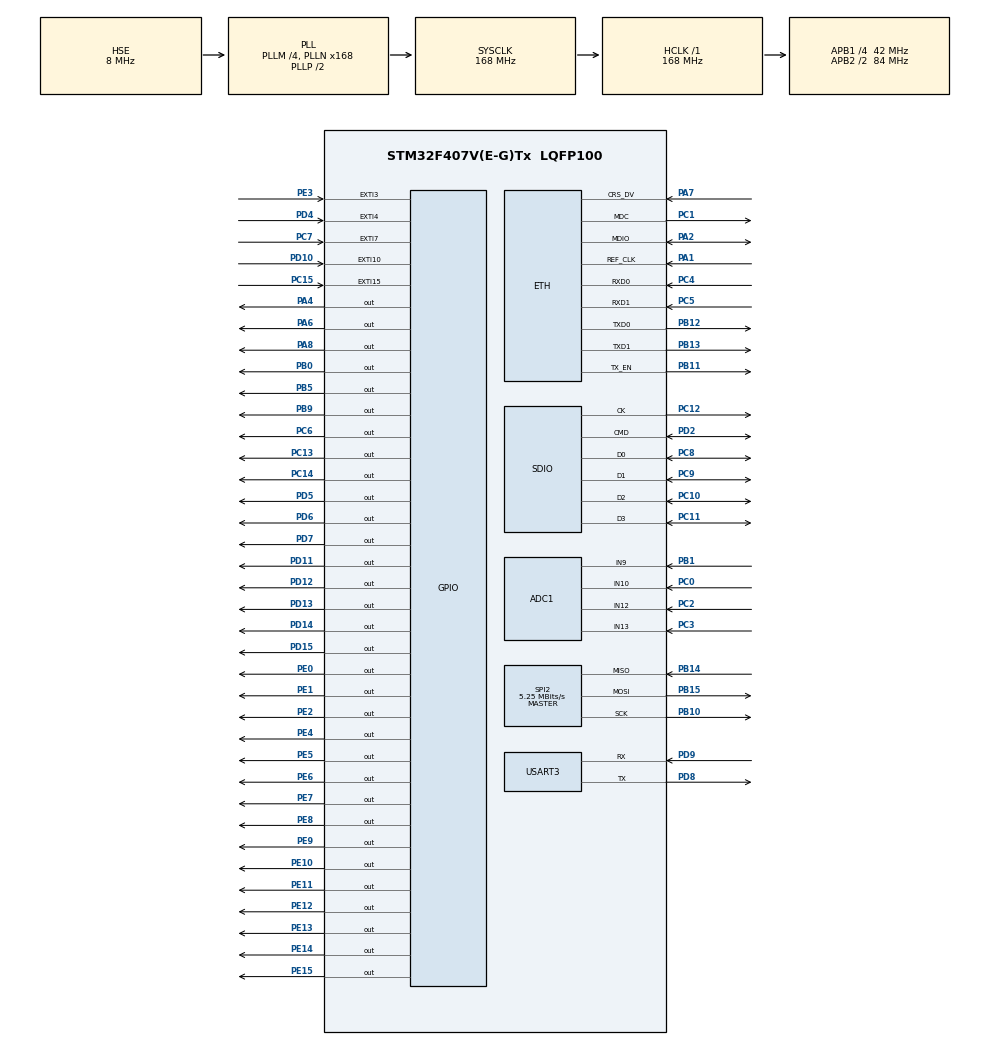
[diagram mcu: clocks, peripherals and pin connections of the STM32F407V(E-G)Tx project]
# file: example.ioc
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ADC1.Channel-0\#ChannelRegularConversion=ADC_CHANNEL_10
ADC1.Channel-1\#ChannelRegularConversion=ADC_CHANNEL_12
ADC1.Channel-2\#ChannelRegularConversion=ADC_CHANNEL_13
ADC1.Channel-3\#ChannelRegularConversion=ADC_CHANNEL_9
ADC1.ContinuousConvMode=ENABLE
ADC1.DMAContinuousRequests=ENABLE
ADC1.DiscontinuousConvMode=DISABLE
ADC1.EOCSelection=ADC_EOC_SEQ_CONV
ADC1.NbrOfConversion=4
ADC1.NbrOfConversionFlag=1
ADC1.Rank-0\#ChannelRegularConversion=1
ADC1.Rank-1\#ChannelRegularConversion=2
ADC1.Rank-2\#ChannelRegularConversion=3
ADC1.Rank-3\#ChannelRegularConversion=4
ADC1.SamplingTime-0\#ChannelRegularConversion=ADC_SAMPLETIME_84CYCLES
ADC1.SamplingTime-1\#ChannelRegularConversion=ADC_SAMPLETIME_84CYCLES
ADC1.SamplingTime-2\#ChannelRegularConversion=ADC_SAMPLETIME_84CYCLES
ADC1.SamplingTime-3\#ChannelRegularConversion=ADC_SAMPLETIME_84CYCLES
ADC1.ScanConvMode=ENABLE
ADC1.master=1
Dma.ADC1.2.Direction=DMA_PERIPH_TO_MEMORY
Dma.ADC1.2.FIFOMode=DMA_FIFOMODE_DISABLE
Dma.ADC1.2.Instance=DMA2_Stream0
Dma.ADC1.2.MemDataAlignment=DMA_MDATAALIGN_HALFWORD
Dma.ADC1.2.MemInc=DMA_MINC_ENABLE
Dma.ADC1.2.Mode=DMA_CIRCULAR
Dma.ADC1.2.PeriphDataAlignment=DMA_PDATAALIGN_HALFWORD
Dma.ADC1.2.PeriphInc=DMA_PINC_DISABLE
Dma.ADC1.2.Priority=DMA_PRIORITY_LOW
Dma.Request0=SDIO_TX
Dma.Request1=SDIO_RX
Dma.Request2=ADC1
Dma.SDIO_RX.1.Direction=DMA_PERIPH_TO_MEMORY
Dma.SDIO_RX.1.FIFOMode=DMA_FIFOMODE_ENABLE
Dma.SDIO_RX.1.FIFOThreshold=DMA_FIFO_THRESHOLD_FULL
Dma.SDIO_RX.1.Instance=DMA2_Stream6
Dma.SDIO_RX.1.MemBurst=DMA_MBURST_INC4
Dma.SDIO_RX.1.MemDataAlignment=DMA_MDATAALIGN_WORD
Dma.SDIO_RX.1.MemInc=DMA_MINC_ENABLE
Dma.SDIO_RX.1.Mode=DMA_PFCTRL
Dma.SDIO_RX.1.PeriphBurst=DMA_PBURST_INC4
Dma.SDIO_RX.1.PeriphDataAlignment=DMA_PDATAALIGN_WORD
Dma.SDIO_RX.1.PeriphInc=DMA_PINC_DISABLE
Dma.SDIO_RX.1.Priority=DMA_PRIORITY_LOW
Dma.SDIO_TX.0.Direction=DMA_MEMORY_TO_PERIPH
Dma.SDIO_TX.0.FIFOMode=DMA_FIFOMODE_ENABLE
Dma.SDIO_TX.0.FIFOThreshold=DMA_FIFO_THRESHOLD_FULL
Dma.SDIO_TX.0.Instance=DMA2_Stream3
Dma.SDIO_TX.0.MemBurst=DMA_MBURST_INC4
Dma.SDIO_TX.0.MemDataAlignment=DMA_MDATAALIGN_WORD
Dma.SDIO_TX.0.MemInc=DMA_MINC_ENABLE
Dma.SDIO_TX.0.Mode=DMA_PFCTRL
Dma.SDIO_TX.0.PeriphBurst=DMA_PBURST_INC4
Dma.SDIO_TX.0.PeriphDataAlignment=DMA_PDATAALIGN_WORD
Dma.SDIO_TX.0.PeriphInc=DMA_PINC_DISABLE
Dma.SDIO_TX.0.Priority=DMA_PRIORITY_LOW
ETH.MediaInterface=HAL_ETH_RMII_MODE
FATFS._USE_LFN=2
FREERTOS.Events01=eventFlags,Dynamic,NULL
FREERTOS.Mutexes01=timeMutex,Dynamic,NULL,Depleted;lcdMutex,Dynamic,NULL,Depleted;mp3BufferMutex,Dynamic,NULL,Depleted;playStateMutex,Dynamic,NULL,Depleted
FREERTOS.Queues01=volQueue,5,uint8_t,0,Dynamic,NULL,NULL;uartQueue,16,128,1,Dynamic,NULL,NULL
FREERTOS.Tasks01=NTPTask,24,4096,StartNTP,Default,NULL,Dynamic,NULL,NULL;TimeTask,32,1024,StartTime,Default,NULL,Dynamic,NULL,NULL;LEDTask,16,512,StartLED,Default,NULL,Dynamic,NULL,NULL;LCDTask,24,512,StartLCD,Default,NULL,Dynamic,NULL,NULL;UartTask,16,1024,StartUart,Default,NULL,Dynamic,NULL,NULL;VS1003Task,24,512,StartVS1003,Default,NULL,Dynamic,NULL,NULL;FATFSTask,16,512,StartFATFS,Default,NULL,Dynamic,NULL,NULL;ADC2DMATask,8,512,StartADC2DMA,Default,NULL,Dynamic,NULL,NULL;ButtonTask,24,512,StartButton,Default,NULL,Dynamic,NULL,NULL
FREERTOS.configTOTAL_HEAP_SIZE=65536
FREERTOS.configUSE_NEWLIB_REENTRANT=1
LWIP.BSP.number=1
LWIP.GATEWAY_ADDRESS=172.030.001.254
LWIP.IP_ADDRESS=172.030.001.100
LWIP.LWIP_DHCP=0
LWIP.NETMASK_ADDRESS=255.255.255.000
LWIP.Version=v2.1.2_Cube
LWIP0.BSP.STBoard=false
LWIP0.BSP.api=BSP_COMPONENT_DRIVER
LWIP0.BSP.component=DP83848
LWIP0.BSP.instance=DP83848
LWIP0.BSP.name=Driver_PHY
LWIP0.BSP.semaphore=S_DP83848
LWIP0.BSP.solution=DP83848
Mcu.Family=STM32F4
Mcu.Name=STM32F407V(E-G)Tx
Mcu.Package=LQFP100
NVIC.DMA2_Stream0_IRQn=true\:5\:0\:false\:false\:true\:true\:false\:true\:true
NVIC.DMA2_Stream3_IRQn=true\:5\:0\:false\:false\:true\:true\:false\:true\:true
NVIC.DMA2_Stream6_IRQn=true\:5\:0\:false\:false\:true\:true\:false\:true\:true
NVIC.ETH_IRQn=true\:5\:0\:false\:true\:true\:6\:true\:false\:true\:true
NVIC.EXTI15_10_IRQn=true\:5\:0\:false\:true\:true\:5\:true\:true\:true\:true
NVIC.EXTI3_IRQn=true\:5\:0\:false\:true\:true\:3\:true\:true\:true\:true
NVIC.EXTI4_IRQn=true\:5\:0\:false\:true\:true\:4\:true\:true\:true\:true
NVIC.EXTI9_5_IRQn=true\:5\:0\:false\:true\:true\:2\:true\:true\:true\:true
NVIC.PriorityGroup=NVIC_PRIORITYGROUP_4
NVIC.SDIO_IRQn=true\:5\:0\:false\:false\:true\:true\:true\:true\:true
NVIC.TIM3_IRQn=true\:15\:0\:false\:false\:true\:false\:false\:true\:true
NVIC.TIM7_IRQn=true\:5\:0\:false\:true\:true\:1\:true\:true\:true\:true
NVIC.TimeBase=TIM3_IRQn
NVIC.TimeBaseIP=TIM3
NVIC.USART3_IRQn=true\:5\:0\:false\:true\:true\:7\:true\:true\:true\:true
PA1.Mode=RMII
PA1.Signal=ETH_REF_CLK
PA2.Mode=RMII
PA2.Signal=ETH_MDIO
PA4.Signal=GPIO_Output
PA6.Signal=GPIO_Output
PA7.Mode=RMII
PA7.Signal=ETH_CRS_DV
PA8.Signal=GPIO_Output
PB0.Signal=GPIO_Output
PB1.Signal=ADCx_IN9
PB10.Mode=Full_Duplex_Master
PB10.Signal=SPI2_SCK
PB11.Mode=RMII
PB11.Signal=ETH_TX_EN
PB12.Mode=RMII
PB12.Signal=ETH_TXD0
PB13.Mode=RMII
PB13.Signal=ETH_TXD1
PB14.Mode=Full_Duplex_Master
PB14.Signal=SPI2_MISO
PB15.Mode=Full_Duplex_Master
PB15.Signal=SPI2_MOSI
PB5.Signal=GPIO_Output
PB9.Signal=GPIO_Output
PC0.Signal=ADCx_IN10
PC1.Mode=RMII
PC1.Signal=ETH_MDC
PC10.Mode=SD_4_bits_Wide_bus
PC10.Signal=SDIO_D2
PC11.Mode=SD_4_bits_Wide_bus
PC11.Signal=SDIO_D3
PC12.Mode=SD_4_bits_Wide_bus
PC12.Signal=SDIO_CK
PC13-ANTI_TAMP.Signal=GPIO_Output
PC14-OSC32_IN.Signal=GPIO_Output
PC15-OSC32_OUT.GPIO_ModeDefaultEXTI=GPIO_MODE_IT_RISING_FALLING
PC15-OSC32_OUT.Signal=GPXTI15
PC2.Signal=ADCx_IN12
PC3.Signal=ADCx_IN13
PC4.Mode=RMII
PC4.Signal=ETH_RXD0
PC5.Mode=RMII
PC5.Signal=ETH_RXD1
PC6.Signal=GPIO_Output
PC7.Signal=GPXTI7
PC8.Mode=SD_4_bits_Wide_bus
PC8.Signal=SDIO_D0
PC9.Mode=SD_4_bits_Wide_bus
PC9.Signal=SDIO_D1
PD10.GPIO_ModeDefaultEXTI=GPIO_MODE_IT_RISING_FALLING
PD10.Signal=GPXTI10
PD11.Signal=GPIO_Output
PD12.Signal=GPIO_Output
PD13.Signal=GPIO_Output
PD14.Signal=GPIO_Output
PD15.Signal=GPIO_Output
PD2.Mode=SD_4_bits_Wide_bus
PD2.Signal=SDIO_CMD
PD4.GPIO_ModeDefaultEXTI=GPIO_MODE_IT_RISING_FALLING
PD4.Signal=GPXTI4
PD5.Signal=GPIO_Output
PD6.Signal=GPIO_Output
PD7.Signal=GPIO_Output
PD8.Mode=Asynchronous
PD8.Signal=USART3_TX
PD9.Mode=Asynchronous
PD9.Signal=USART3_RX
PE0.Signal=GPIO_Output
PE1.Signal=GPIO_Output
PE10.Signal=GPIO_Output
PE11.Signal=GPIO_Output
PE12.Signal=GPIO_Output
PE13.Signal=GPIO_Output
PE14.Signal=GPIO_Output
PE15.Signal=GPIO_Output
PE2.Signal=GPIO_Output
PE3.GPIO_ModeDefaultEXTI=GPIO_MODE_IT_RISING_FALLING
PE3.Signal=GPXTI3
PE4.Signal=GPIO_Output
PE5.Signal=GPIO_Output
PE6.Signal=GPIO_Output
PE7.Signal=GPIO_Output
PE8.Signal=GPIO_Output
PE9.Signal=GPIO_Output
PH0-OSC_IN.Mode=HSE-External-Oscillator
PH0-OSC_IN.Signal=RCC_OSC_IN
PH1-OSC_OUT.Mode=HSE-External-Oscillator
PH1-OSC_OUT.Signal=RCC_OSC_OUT
ProjectManager.HeapSize=0x200
ProjectManager.StackSize=0x400
ProjectManager.TargetToolchain=STM32CubeIDE
RCC.48MHZClocksFreq_Value=48000000
RCC.AHBFreq_Value=168000000
RCC.APB1CLKDivider=RCC_HCLK_DIV4
RCC.APB1Freq_Value=42000000
RCC.APB1TimFreq_Value=84000000
RCC.APB2CLKDivider=RCC_HCLK_DIV2
RCC.APB2Freq_Value=84000000
RCC.APB2TimFreq_Value=168000000
RCC.CortexFreq_Value=168000000
RCC.HCLKFreq_Value=168000000
RCC.HSE_VALUE=8000000
RCC.HSI_VALUE=16000000
RCC.LSE_VALUE=32768
RCC.PLLM=4
RCC.PLLN=168
RCC.PLLQ=7
RCC.PLLSourceVirtual=RCC_PLLSOURCE_HSE
RCC.SYSCLKFreq_VALUE=168000000
RCC.SYSCLKSource=RCC_SYSCLKSOURCE_PLLCLK
RCC.VCOOutputFreq_Value=336000000
SH.ADCx_IN10.0=ADC1_IN10,IN10
SH.ADCx_IN12.0=ADC1_IN12,IN12
SH.ADCx_IN13.0=ADC1_IN13,IN13
SH.ADCx_IN9.0=ADC1_IN9,IN9
SPI2.BaudRatePrescaler=SPI_BAUDRATEPRESCALER_8
SPI2.CLKPhase=SPI_PHASE_2EDGE
SPI2.CLKPolarity=SPI_POLARITY_HIGH
SPI2.CalculateBaudRate=5.25 MBits/s
SPI2.Direction=SPI_DIRECTION_2LINES
SPI2.Mode=SPI_MODE_MASTER
SPI2.VirtualType=VM_MASTER
TIM7.Period=8399
TIM7.Prescaler=9999
USART3.VirtualMode=VM_ASYNC
VP_FATFS_VS_SDIO.Mode=SDIO
VP_FREERTOS_VS_CMSIS_V2.Mode=CMSIS_V2
VP_LWIP_VS_Enabled.Mode=Enabled
VP_SYS_VS_tim3.Mode=TIM3
VP_TIM7_VS_ClockSourceINT.Mode=Enable_Timer
board=custom

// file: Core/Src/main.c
/* USER CODE BEGIN Header */
/**
 ******************************************************************************
 * @file           : main.c
 * @brief          : Main program body
 ******************************************************************************
 * @attention
 *
 * Copyright (c) 2025 STMicroelectronics.
 * All rights reserved.
 *
 * This software is licensed under terms that can be found in the LICENSE file
 * in the root directory of this software component.
 * If no LICENSE file comes with this software, it is provided AS-IS.
 *
 ******************************************************************************
 */
/* USER CODE END Header */
#include "main.h"
#include "cmsis_os.h"
#include "adc.h"
#include "dma.h"
#include "fatfs.h"
#include "lwip.h"
#include "sdio.h"
#include "spi.h"
#include "tim.h"
#include "usart.h"
#include "gpio.h"

/* USER CODE BEGIN Includes */
#include "common.h"
/* USER CODE END Includes */

/* USER CODE BEGIN PTD */
int _write(int file, char *p, int len) {
	HAL_UART_Transmit(&huart3, (uint8_t*) p, len, 10);
	return len;
}
extern DMA_HandleTypeDef hdma_adc1;  // hdma_adc1 핸들러 extern 선언
/* USER CODE END PTD */

/* USER CODE BEGIN PV */
uint16_t adcval[4] = { 0 };
uint8_t rx3_data;
/* USER CODE END PV */

void SystemClock_Config(void);
void MX_FREERTOS_Init(void);
static void MX_NVIC_Init(void);

int main(void)
{

  /* MCU Configuration--------------------------------------------------------*/

  /* Reset of all peripherals, Initializes the Flash interface and the Systick. */
  HAL_Init();

  /* Configure the system clock */
  SystemClock_Config();

  /* Initialize all configured peripherals */
  MX_GPIO_Init();
  MX_DMA_Init();
  MX_TIM7_Init();
  MX_USART3_UART_Init();
  MX_SPI2_Init();
  MX_SDIO_SD_Init();
  MX_FATFS_Init();
  MX_ADC1_Init();

  /* Initialize interrupts */
  MX_NVIC_Init();
  /* USER CODE BEGIN 2 */
	CLCD_GPIO_Init();
	CLCD_Init();
	HAL_ADC_Start_DMA(&hadc1, &adcval[0], 4);
	HAL_UART_Receive_IT(&huart3, &rx3_data, 1);
	printf("Hello\n");

  /* USER CODE END 2 */

  /* Init scheduler */
  osKernelInitialize();

  /* Call init function for freertos objects (in cmsis_os2.c) */
  MX_FREERTOS_Init();

  /* Start scheduler */
  osKernelStart();

  /* We should never get here as control is now taken by the scheduler */

  /* Infinite loop */
	while (1) {

	}
}

void SystemClock_Config(void)
{
  RCC_OscInitTypeDef RCC_OscInitStruct = {0};
  RCC_ClkInitTypeDef RCC_ClkInitStruct = {0};

  /** Configure the main internal regulator output voltage
  */
  __HAL_RCC_PWR_CLK_ENABLE();
  __HAL_PWR_VOLTAGESCALING_CONFIG(PWR_REGULATOR_VOLTAGE_SCALE1);

  /** Initializes the RCC Oscillators according to the specified parameters
  * in the RCC_OscInitTypeDef structure.
  */
  RCC_OscInitStruct.OscillatorType = RCC_OSCILLATORTYPE_HSE;
  RCC_OscInitStruct.HSEState = RCC_HSE_ON;
  RCC_OscInitStruct.PLL.PLLState = RCC_PLL_ON;
  RCC_OscInitStruct.PLL.PLLSource = RCC_PLLSOURCE_HSE;
  RCC_OscInitStruct.PLL.PLLM = 4;
  RCC_OscInitStruct.PLL.PLLN = 168;
  RCC_OscInitStruct.PLL.PLLP = RCC_PLLP_DIV2;
  RCC_OscInitStruct.PLL.PLLQ = 7;
  if (HAL_RCC_OscConfig(&RCC_OscInitStruct) != HAL_OK)
  {
    Error_Handler();
  }

  /** Initializes the CPU, AHB and APB buses clocks
  */
  RCC_ClkInitStruct.ClockType = RCC_CLOCKTYPE_HCLK|RCC_CLOCKTYPE_SYSCLK
                              |RCC_CLOCKTYPE_PCLK1|RCC_CLOCKTYPE_PCLK2;
  RCC_ClkInitStruct.SYSCLKSource = RCC_SYSCLKSOURCE_PLLCLK;
  RCC_ClkInitStruct.AHBCLKDivider = RCC_SYSCLK_DIV1;
  RCC_ClkInitStruct.APB1CLKDivider = RCC_HCLK_DIV4;
  RCC_ClkInitStruct.APB2CLKDivider = RCC_HCLK_DIV2;

  if (HAL_RCC_ClockConfig(&RCC_ClkInitStruct, FLASH_LATENCY_5) != HAL_OK)
  {
    Error_Handler();
  }
}

/**
  * @brief NVIC Configuration.
  * @retval None
  */
static void MX_NVIC_Init(void)
{
  /* TIM7_IRQn interrupt configuration */
  HAL_NVIC_SetPriority(TIM7_IRQn, 5, 0);
  HAL_NVIC_EnableIRQ(TIM7_IRQn);
  /* EXTI9_5_IRQn interrupt configuration */
  HAL_NVIC_SetPriority(EXTI9_5_IRQn, 5, 0);
  HAL_NVIC_EnableIRQ(EXTI9_5_IRQn);
  /* EXTI3_IRQn interrupt configuration */
  HAL_NVIC_SetPriority(EXTI3_IRQn, 5, 0);
  HAL_NVIC_EnableIRQ(EXTI3_IRQn);
  /* EXTI4_IRQn interrupt configuration */
  HAL_NVIC_SetPriority(EXTI4_IRQn, 5, 0);
  HAL_NVIC_EnableIRQ(EXTI4_IRQn);
  /* EXTI15_10_IRQn interrupt configuration */
  HAL_NVIC_SetPriority(EXTI15_10_IRQn, 5, 0);
  HAL_NVIC_EnableIRQ(EXTI15_10_IRQn);
  /* ETH_IRQn interrupt configuration */
  HAL_NVIC_SetPriority(ETH_IRQn, 5, 0);
  HAL_NVIC_EnableIRQ(ETH_IRQn);
  /* USART3_IRQn interrupt configuration */
  HAL_NVIC_SetPriority(USART3_IRQn, 5, 0);
  HAL_NVIC_EnableIRQ(USART3_IRQn);
}

/* USER CODE BEGIN 4 */
/**
 * @brief  UART 수신 완료 콜백 (인터럽트 기반)
 * @note   USART3에서 1바이트 수신 시 호출됨
 *         - 수신 시 LED 토글(GPIOB PIN5)
 *         - 수신 데이터 Echo 송신
 *         - 수신 인터럽트 재시작
 *         - 이벤트 플래그 설정 (FreeRTOS 태스크 통신용)
 * @param  huart: 수신 완료된 UART 핸들 포인터
 */
void HAL_UART_RxCpltCallback(UART_HandleTypeDef *huart) {
	if (huart->Instance == USART3) {
//		HAL_GPIO_TogglePin(GPIOB, GPIO_PIN_5);                // 수신 시 LED 토글
//		HAL_UART_Transmit(&huart3, &rx3_data, 1, 10);         // Echo 전송
//		HAL_UART_Receive_IT(&huart3, &rx3_data, 1);           // 인터럽트 수신 재시작
//		osEventFlagsSet(eventFlagsHandle, EVENT_UART_BIT);    // 이벤트 플래그 설정
	}
}

/**
 * @brief  EXTI 인터럽트 콜백 함수
 * @note   GPIO_PIN_7 (VS1003 DREQ 핀)에서 인터럽트 발생 시 호출
 *         - VS1003 태스크에 알림 전송 (Direct-to-task notification)
 * @param  GPIO_Pin: 인터럽트 발생 핀 번호
 */
void HAL_GPIO_EXTI_Callback(uint16_t GPIO_Pin) {
	if (GPIO_Pin == GPIO_PIN_7) 	// VS1003 DREQ 핀에 대한 외부 인터럽트 확인
	{
		osThreadFlagsSet(VS1003TaskHandle, 1); // VS1003 테스크 플래그 설정
	}

	else if (GPIO_Pin == GPIO_PIN_3||GPIO_Pin == GPIO_PIN_4) {
		osEventFlagsSet(eventFlagsHandle, EVENT_BTN_BIT);
	}
}
/* USER CODE END 4 */

void HAL_TIM_PeriodElapsedCallback(TIM_HandleTypeDef *htim)
{
  /* USER CODE BEGIN Callback 0 */
	if (htim->Instance == TIM7) {
		osEventFlagsSet(eventFlagsHandle,
				EVENT_TIME_BIT | EVENT_LED_BIT | EVENT_LCD_BIT | EVENT_UART_BIT
						| EVENT_7SEG_BIT);
	}
  /* USER CODE END Callback 0 */
  if (htim->Instance == TIM3)
  {
    HAL_IncTick();
  }
}

void Error_Handler(void)
{
	__disable_irq();
	while (1) {
	}
}

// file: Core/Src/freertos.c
/* USER CODE BEGIN Header */
/**
 ******************************************************************************
 * File Name          : freertos.c
 * Description        : Code for freertos applications
 ******************************************************************************
 * @attention
 *
 * Copyright (c) 2025 STMicroelectronics.
 * All rights reserved.
 *
 * This software is licensed under terms that can be found in the LICENSE file
 * in the root directory of this software component.
 * If no LICENSE file comes with this software, it is provided AS-IS.
 *
 ******************************************************************************
 */
/* USER CODE END Header */

#include "FreeRTOS.h"
#include "task.h"
#include "main.h"
#include "cmsis_os.h"

/* USER CODE BEGIN Includes */
#include "common.h"
/* USER CODE END Includes */

/* USER CODE BEGIN PD */

typedef struct {
	char filename[32];
} mp3_file_t;

volatile uint32_t time_1sec = 0;

#define MP3_BUF_SIZE 4096
#define MP3_CHUNK_SIZE 32
uint8_t mp3_buf[MP3_BUF_SIZE]; //MP3 데이터가 들어 있는 전체 버퍼
volatile uint32_t mp3_buf_len = 0; //전체 길이
volatile uint32_t mp3_buf_index = 0; //현재까지 전송된 위치
volatile bool is_playing = true;  // 기본값: 재생 중

static mp3_file_t mp3_files[50];  // 최대 50개 MP3 파일
static uint32_t total_mp3_files = 0;
static uint32_t current_track_index = 0;
static bool track_changed = false;

// lcd 동기화 관련 이슈
// 변수 포맷 관련 이슈
// 이더넷 수신 인터럽트 세마포어 이용
// 등등 이슈 있었던거 추가 예정

/* USER CODE END PD */

/* Definitions for NTPTask */
osThreadId_t NTPTaskHandle;
const osThreadAttr_t NTPTask_attributes = { .name = "NTPTask", .stack_size =
		4096 * 4, .priority = (osPriority_t) osPriorityNormal, };
/* Definitions for TimeTask */
osThreadId_t TimeTaskHandle;
const osThreadAttr_t TimeTask_attributes = { .name = "TimeTask", .stack_size =
		1024 * 4, .priority = (osPriority_t) osPriorityAboveNormal, };
/* Definitions for LEDTask */
osThreadId_t LEDTaskHandle;
const osThreadAttr_t LEDTask_attributes = { .name = "LEDTask", .stack_size = 512
		* 4, .priority = (osPriority_t) osPriorityBelowNormal, };
/* Definitions for LCDTask */
osThreadId_t LCDTaskHandle;
const osThreadAttr_t LCDTask_attributes = { .name = "LCDTask", .stack_size = 512
		* 4, .priority = (osPriority_t) osPriorityNormal, };
/* Definitions for UartTask */
osThreadId_t UartTaskHandle;
const osThreadAttr_t UartTask_attributes = { .name = "UartTask", .stack_size =
		1024 * 4, .priority = (osPriority_t) osPriorityBelowNormal, };
/* Definitions for VS1003Task */
osThreadId_t VS1003TaskHandle;
const osThreadAttr_t VS1003Task_attributes = { .name = "VS1003Task",
		.stack_size = 512 * 4, .priority = (osPriority_t) osPriorityNormal, };
/* Definitions for FATFSTask */
osThreadId_t FATFSTaskHandle;
const osThreadAttr_t FATFSTask_attributes = { .name = "FATFSTask", .stack_size =
		512 * 4, .priority = (osPriority_t) osPriorityBelowNormal, };
/* Definitions for ADC2DMATask */
osThreadId_t ADC2DMATaskHandle;
const osThreadAttr_t ADC2DMATask_attributes = { .name = "ADC2DMATask",
		.stack_size = 512 * 4, .priority = (osPriority_t) osPriorityLow, };
/* Definitions for ButtonTask */
osThreadId_t ButtonTaskHandle;
const osThreadAttr_t ButtonTask_attributes = { .name = "ButtonTask",
		.stack_size = 512 * 4, .priority = (osPriority_t) osPriorityNormal, };
/* Definitions for volQueue */
osMessageQueueId_t volQueueHandle;
const osMessageQueueAttr_t volQueue_attributes = { .name = "volQueue" };
/* Definitions for uartQueue */
osMessageQueueId_t uartQueueHandle;
const osMessageQueueAttr_t uartQueue_attributes = { .name = "uartQueue" };
/* Definitions for timeMutex */
osMutexId_t timeMutexHandle;
const osMutexAttr_t timeMutex_attributes = { .name = "timeMutex" };
/* Definitions for lcdMutex */
osMutexId_t lcdMutexHandle;
const osMutexAttr_t lcdMutex_attributes = { .name = "lcdMutex" };
/* Definitions for mp3BufferMutex */
osMutexId_t mp3BufferMutexHandle;
const osMutexAttr_t mp3BufferMutex_attributes = { .name = "mp3BufferMutex" };
/* Definitions for playStateMutex */
osMutexId_t playStateMutexHandle;
const osMutexAttr_t playStateMutex_attributes = { .name = "playStateMutex" };
/* Definitions for eventFlags */
osEventFlagsId_t eventFlagsHandle;
const osEventFlagsAttr_t eventFlags_attributes = { .name = "eventFlags" };

void StartNTP(void *argument);
void StartTime(void *argument);
void StartLED(void *argument);
void StartLCD(void *argument);
void StartUart(void *argument);
void StartVS1003(void *argument);
void StartFATFS(void *argument);
void StartADC2DMA(void *argument);
void StartButton(void *argument);

extern void MX_LWIP_Init(void);
void MX_FREERTOS_Init(void); /* (MISRA C 2004 rule 8.1) */

void MX_FREERTOS_Init(void) {
	/* Create the mutex(es) */
	/* creation of timeMutex */
	timeMutexHandle = osMutexNew(&timeMutex_attributes);

	/* creation of lcdMutex */
	lcdMutexHandle = osMutexNew(&lcdMutex_attributes);

	/* creation of mp3BufferMutex */
	mp3BufferMutexHandle = osMutexNew(&mp3BufferMutex_attributes);

	/* creation of playStateMutex */
	playStateMutexHandle = osMutexNew(&playStateMutex_attributes);

	/* Create the queue(s) */
	/* creation of volQueue */
	volQueueHandle = osMessageQueueNew(5, sizeof(uint8_t),
			&volQueue_attributes);

	/* creation of uartQueue */
	uartQueueHandle = osMessageQueueNew(16, 128, &uartQueue_attributes);

	/* Create the thread(s) */
	/* creation of NTPTask */
	NTPTaskHandle = osThreadNew(StartNTP, NULL, &NTPTask_attributes);

	/* creation of TimeTask */
	TimeTaskHandle = osThreadNew(StartTime, NULL, &TimeTask_attributes);

	/* creation of LEDTask */
	LEDTaskHandle = osThreadNew(StartLED, NULL, &LEDTask_attributes);

	/* creation of LCDTask */
	LCDTaskHandle = osThreadNew(StartLCD, NULL, &LCDTask_attributes);

	/* creation of UartTask */
	UartTaskHandle = osThreadNew(StartUart, NULL, &UartTask_attributes);

	/* creation of VS1003Task */
	VS1003TaskHandle = osThreadNew(StartVS1003, NULL, &VS1003Task_attributes);

	/* creation of FATFSTask */
	FATFSTaskHandle = osThreadNew(StartFATFS, NULL, &FATFSTask_attributes);

	/* creation of ADC2DMATask */
	ADC2DMATaskHandle = osThreadNew(StartADC2DMA, NULL,
			&ADC2DMATask_attributes);

	/* creation of ButtonTask */
	ButtonTaskHandle = osThreadNew(StartButton, NULL, &ButtonTask_attributes);

	/* creation of eventFlags */
	eventFlagsHandle = osEventFlagsNew(&eventFlags_attributes);

}

/* USER CODE BEGIN Header_StartNTP */
/**
 * @brief  Function implementing the NTPTask thread.
 * @param  argument: Not used
 * @retval None
 *
 * @details
 * - NTP 서버 접속 및 현재 시각 수신
 */
/* USER CODE END Header_StartNTP */
void StartNTP(void *argument) {
	/* init code for LWIP */
	MX_LWIP_Init();
	/* USER CODE BEGIN StartNTP */
	uint8_t network_ready = 0;
	uint8_t ntp_initialized = 0;
	uint32_t last_ntp_request = 0;
	char ntp_logBuf[128];

	// NTP Task 시작 메시지를 큐에 전송
	snprintf(ntp_logBuf, sizeof(ntp_logBuf),
			"[NTP Task] Starting NTP client task\r\n");
	osMessageQueuePut(uartQueueHandle, ntp_logBuf, 0, 0);

	/* Infinite loop */
	for (;;) {
		memset(ntp_logBuf, 0, sizeof(ntp_logBuf));
		// 1. 네트워크 상태 확인
		if (!network_ready) {
			if (netif_is_up(&gnetif) && netif_is_link_up(&gnetif)) {
				// IP 주소가 할당되었는지 확인
				if (!ip4_addr_isany_val(*netif_ip4_addr(&gnetif))) {
					network_ready = 1;
					snprintf(ntp_logBuf, sizeof(ntp_logBuf),
							"[NTP Task] Network is ready\r\n");
					osMessageQueuePut(uartQueueHandle, ntp_logBuf, 0, 0);
				} else {
					snprintf(ntp_logBuf, sizeof(ntp_logBuf),
							"[NTP Task] Waiting for IP address...\r\n");
					osMessageQueuePut(uartQueueHandle, ntp_logBuf, 0, 0);
					osDelay(1000);
					continue;
				}
			}

			else {
				snprintf(ntp_logBuf, sizeof(ntp_logBuf),
						"[NTP Task] Waiting for network link...\r\n");
				osMessageQueuePut(uartQueueHandle, ntp_logBuf, 0, 0);
				osDelay(2000);
				continue;
			}
		}

		// 2. NTP 클라이언트 초기화 (네트워크 준비 후 한 번만)
		if (network_ready && !ntp_initialized) {
			snprintf(ntp_logBuf, sizeof(ntp_logBuf),
					"[NTP Task] Initializing NTP client...\r\n");
			osMessageQueuePut(uartQueueHandle, ntp_logBuf, 0, 0);
			osDelay(1000); // 네트워크 안정화 대기
			udp_ntp_client_init();
			ntp_initialized = 1;
			last_ntp_request = osKernelGetTickCount();
		}

		// 3. 주기적 NTP 요청
		if (ntp_initialized) {
			uint32_t current_tick = osKernelGetTickCount();
			if ((current_tick - last_ntp_request) >= 10000) {
				if (netif_is_up(&gnetif) && netif_is_link_up(&gnetif)) {
					snprintf(ntp_logBuf, sizeof(ntp_logBuf),
							"[NTP Task] Sending NTP request...\r\n");
					osMessageQueuePut(uartQueueHandle, ntp_logBuf, 0, 0);
					udp_ntp_send();
					last_ntp_request = current_tick;
				}

				else {
					snprintf(ntp_logBuf, sizeof(ntp_logBuf),
							"[NTP Task] Network disconnected\r\n");
					osMessageQueuePut(uartQueueHandle, ntp_logBuf, 0, 0);
					network_ready = 0;
					ntp_initialized = 0;
				}
			}
		}

		osDelay(5000);
	}
	/* USER CODE END StartNTP */
}

/* USER CODE BEGIN Header_StartTime */
/**
 * @brief Function implementing the TimeTask thread.
 * @param argument: Not used
 * @retval None
 *
 */
/* USER CODE END Header_StartTime */
void StartTime(void *argument) {
	/* USER CODE BEGIN StartTime */

	//TIMER START
	HAL_TIM_Base_Start_IT(&htim7);

	// 로컬 타임 변수 초기화
	time_t local_time = 0;
	char time_logBuf[128] = { 0 }; // 버퍼 초기화

	/* Infinite loop */
	for (;;) {
		memset(time_logBuf, 0, sizeof(time_logBuf));
		//WAIT FOR TIME FLAGS -> TIME EVENT EVERY SECOND
		uint32_t flags = osEventFlagsWait(eventFlagsHandle, EVENT_TIME_BIT,
		osFlagsWaitAny, osWaitForever);

		//TIME EVENT -> TIME COUNT INCREASE AND TOGGLE LED
		if (flags & EVENT_TIME_BIT) {			// 이벤트 발생 확인(1초마다 이벤트 발생)
			osMutexAcquire(timeMutexHandle, osWaitForever);	// 공유 변수 보호를 위해 뮤텍스 획득
			// NTP 동기화가 됐으면 그걸 기준으로 증가
			if (ntp_time_updated) {
				local_time = ntp_time_unix + 1;
				ntp_time_updated = 0; // 초기화
			}
			local_time++; // 1초 증가
			time_1sec = local_time; // 전역변수 갱신
			osMutexRelease(timeMutexHandle);					// 뮤텍스 해제

			// 유닉스 타임 → 시간 구조체 변환
			struct tm *timeinfo = gmtime(&local_time);
			// snprintf 길이 제한, 널문자 강제 삽입
			snprintf(time_logBuf, sizeof(time_logBuf),
					"[TIME Task] %04d-%02d-%02d %02d:%02d:%02d\r\n",
					timeinfo->tm_year + 1900, timeinfo->tm_mon + 1,
					timeinfo->tm_mday, timeinfo->tm_hour, timeinfo->tm_min,
					timeinfo->tm_sec);

			// 큐에 문자열 복사
			osMessageQueuePut(uartQueueHandle, time_logBuf, 0, 0);
		}
	}
	/* USER CODE END StartTime */
}

void StartLED(void *argument) {
	/* USER CODE BEGIN StartLED */

	//LED STATUS INIT (R,G,B turn off)
	HAL_GPIO_WritePin(GPIOD, GPIO_PIN_12, SET);
	HAL_GPIO_WritePin(GPIOC, GPIO_PIN_6, SET);
	HAL_GPIO_WritePin(GPIOD, GPIO_PIN_13, SET);
	HAL_GPIO_WritePin(GPIOB, GPIO_PIN_5, SET);
	HAL_GPIO_WritePin(GPIOD, GPIO_PIN_14, SET);
	HAL_GPIO_WritePin(GPIOB, GPIO_PIN_0, SET);

	/* Infinite loop */
	for (;;) {
		//WAIT FOR EVENT FLAGS -> LED EVENTS EVERY SECOND
		uint32_t flags = osEventFlagsWait(eventFlagsHandle, EVENT_LED_BIT,
		osFlagsWaitAny, osWaitForever);

		//LED EVENT -> TOGGLE LED
		if (flags & EVENT_LED_BIT) {
			HAL_GPIO_TogglePin(GPIOD, GPIO_PIN_12);
		}
	}
	/* USER CODE END StartLED */
}

/* USER CODE BEGIN Header_StartLCD */
/**
 * @brief Function implementing the LCDTask thread.
 * @param argument: Not used
 * @retval None
 *
 */
/* USER CODE END Header_StartLCD */
void StartLCD(void *argument) {
	/* USER CODE BEGIN StartLCD */

	//CLCD STATUS INIT
	CLCD_GPIO_Init();
	CLCD_Init();

	//TASK LOCAL VARIABLES
	char LCD_str[20];
	char lcd_logBuf[128];
	bool local_is_playing;
	const char *status_str[] = { "paused", "playing" };
	const char *status_log[] = { "[CLCD Task] MP3 paused\r\n",
			"[CLCD Task] MP3 playing\r\n" };

	///LCD INIT -> PRINT MP3 PLAYING STATUS
	osMutexAcquire(playStateMutexHandle, osWaitForever);
	local_is_playing = is_playing;
	osMutexRelease(playStateMutexHandle);

	// LCD 업데이트 및 로그 전송
	osMutexAcquire(lcdMutexHandle, osWaitForever);
	CLCD_Puts(9, 1, (unsigned char*) "       "); // 이전 상태 지우기
	CLCD_Puts(9, 1, (unsigned char*) status_str[local_is_playing]);
	snprintf(lcd_logBuf, sizeof(lcd_logBuf), "%s",
			status_log[local_is_playing]);
	osMessageQueuePut(uartQueueHandle, lcd_logBuf, 0, 0);
	osMutexRelease(lcdMutexHandle);

	/* Infinite loop */
	for (;;) {

		//WAIT FOR EVENT FLAGS -> LCD, BTN EVENTS EVERY SECOND
		uint32_t flags = osEventFlagsWait(eventFlagsHandle,
		EVENT_LCD_BIT | EVENT_BTN2LCD_BIT,
		osFlagsWaitAny, osWaitForever);

		//LCD EVENT -> GET TIME FROM TIMER AND PRINT AT LCD
		if (flags & EVENT_LCD_BIT) {
			time_t rawtime;
			struct tm *timeinfo;

			osMutexAcquire(timeMutexHandle, osWaitForever); // TIME 뮤텍스 획득
			rawtime = (time_t) time_1sec;                   // 유닉스 타임 값 가져오기
			osMutexRelease(timeMutexHandle);                // TIME 뮤텍스 해제

			// 유닉스 타임 → 시간 구조체 변환
			timeinfo = gmtime(&rawtime);

			// LCD 출력 문자열 포맷
			osMutexAcquire(lcdMutexHandle, osWaitForever);  // LCD 뮤텍스 획득
			sprintf(LCD_str, "%04d-%02d-%02d", timeinfo->tm_year + 1900,
					timeinfo->tm_mon + 1, timeinfo->tm_mday);
			CLCD_Puts(0, 0, (unsigned char*) LCD_str);       // 첫 줄: 날짜

			sprintf(LCD_str, "%02d:%02d:%02d", timeinfo->tm_hour,
					timeinfo->tm_min, timeinfo->tm_sec);
			CLCD_Puts(0, 1, (unsigned char*) LCD_str);       // 둘째 줄: 시각
			osMutexRelease(lcdMutexHandle);                 // LCD 뮤텍스 해제
		}

		//BTN EVENT -> GET PLAYING STATUS AND PRINT AT LCD
		if (flags & EVENT_BTN2LCD_BIT) {
			memset(lcd_logBuf, 0, sizeof(lcd_logBuf));
			osMutexAcquire(playStateMutexHandle, osWaitForever);
			local_is_playing = is_playing;
			osMutexRelease(playStateMutexHandle);

			osMutexAcquire(lcdMutexHandle, osWaitForever);
			CLCD_Puts(9, 1, (unsigned char*) "       "); // 이전 상태 지우기
			CLCD_Puts(9, 1, (unsigned char*) status_str[local_is_playing]);
			snprintf(lcd_logBuf, sizeof(lcd_logBuf), "%s",
					status_log[local_is_playing]);
			osMessageQueuePut(uartQueueHandle, lcd_logBuf, 0, 0);
			osMutexRelease(lcdMutexHandle);
		}
	}
	/* USER CODE END StartLCD */
}

/* USER CODE BEGIN Header_StartUart */
/**
 * @brief Function implementing the UartTask thread.
 * @param argument: Not used
 * @retval None
 *
 */
/* USER CODE END Header_StartUart */
void StartUart(void *argument) {
	/* USER CODE BEGIN StartUart */
	char logBuf[128];
	/* Infinite loop */
	for (;;) {
		// 큐에서 문자열 수신 (블로킹 대기)
		if (osMessageQueueGet(uartQueueHandle, logBuf, NULL, osWaitForever)
				== osOK) {
			HAL_UART_Transmit(&huart3, (uint8_t*) logBuf, strlen(logBuf), 1000);
		}
	}
	/* USER CODE END StartUart */
}

/* USER CODE BEGIN Header_StartVS1003 */
/**
 * @brief Function implementing the VS1003Task thread.
 * @param argument: Not used
 * @retval None
 *
 * @details
 * - osThreadFlagsWait()로 플래그 대기
 * - 플래그 수신 시, 볼륨 변경 메시지 큐에서 볼륨 값 읽기
 * - 볼륨 값이 있으면 VS1003 볼륨 레지스터 업데이트 및 적용
 * - MP3 버퍼 상태 확인 후, DREQ 핀이 HIGH이면 MP3 데이터를 청크 단위로 VS1003에 전송
 * - DREQ가 LOW면 전송 대기
 */
/* USER CODE END Header_StartVS1003 */
void StartVS1003(void *argument) {
	/* USER CODE BEGIN StartVS1003 */

	//TASK LOCAL VARIABLES
	uint8_t vol;
	bool local_is_playing;

	//INIT VS1003
	VS1003_Init();
	VS1003_SoftReset();
	VS1003_SetVol();

	for (;;) {

		// Wait until any other task signals (BTN, FATFS)
		// 버튼테스크, FATFS에서 VS1003 테스크 깨움
		osThreadFlagsWait(1, osFlagsWaitAny, osWaitForever);

		// CHECK IF VOLUME MESSAGE IS AVAILABLE
		// ADC테스크에서 볼륨 정보 큐로 보냄(큐에 정보 있으면 해당 값으로 볼륨 조절)
		if (osMessageQueueGet(volQueueHandle, &vol, NULL, 0) == osOK) {
			vs1003ram[4] = vol;
			VS1003_SetVol();
		}

		// SEND MP3 DATA TO VS1003 IF IS PLAYING STATUS
		// 버튼테스크에서 전역변수 is_playing 조작
		osMutexAcquire(playStateMutexHandle, osWaitForever);
		local_is_playing = is_playing;
		osMutexRelease(playStateMutexHandle);

		// SEND MP3 DATA TO VS1003 IF IS PLAYING STATUS
		// 버튼으로 playing 활성화되면
		while (local_is_playing) {
			// MP3 버퍼 접근을 뮤텍스로 보호
			// FATFS 태스크에서 mp3_buf_len, mp3_buf_index 같이 사용하므로 뮤텍스로 공통 변수 보호
			osMutexAcquire(mp3BufferMutexHandle, osWaitForever); // MP3 버퍼 뮤텍스 획득

			// IF ENOUGH DATA AND DREQ IS HIGH, SEND 32 BYTES
			// Data REQuest 핀이 활성화(디코더 칩이 새로운 데이터를 수신할 준비가 되었는지)
			// mp3_buf_len == 현재까지 FATFS 태스크에서 읽어들인 MP3 데이터 총 길이
			// mp3_buf_index == 현재까지 VS1003로 전송한 위치 (offset)
			// 아직 보내지 않은 데이터가 32바이트 이상 있는가?
			if (mp3_buf_len - mp3_buf_index >= MP3_CHUNK_SIZE
					&& MP3_DREQ == 1) {
				//mp3_buf의 현재 위치부터 32바이트 전송
				VS1003_WriteData(&mp3_buf[mp3_buf_index]);
				//다음 전송 위치로 인덱스 이동 (32바이트 뒤)
				mp3_buf_index += MP3_CHUNK_SIZE;
				osMutexRelease(mp3BufferMutexHandle);  // MP3 버퍼 뮤텍스 해제
			}

			else {
				osMutexRelease(mp3BufferMutexHandle);  // MP3 버퍼 뮤텍스 해제
				break;
			}

			// 재생 상태 다시 확인 (FROM 버튼테스크)
			osMutexAcquire(playStateMutexHandle, osWaitForever); // 재생 상태 뮤텍스 획득
			local_is_playing = is_playing;
			osMutexRelease(playStateMutexHandle);  // 재생 상태 뮤텍스 해제
		}
	}
	/* USER CODE END StartVS1003 */
}

/* USER CODE BEGIN Header_StartFATFS */
/**
 * @brief Function implementing the FATFSTask thread.
 * @param argument: Not used
 * @retval None
 */
// MP3 파일 스캔 함수
uint32_t scan_mp3_files(void) {
	DIR dir;
	FILINFO fno;
	uint32_t count = 0;

	if (f_opendir(&dir, "0:/") == FR_OK) {
		while (f_readdir(&dir, &fno) == FR_OK && fno.fname[0] && count < 50) {
			if (!(fno.fattrib & AM_DIR)) {  // 파일인 경우
				// MP3 확장자 확인
				char *ext = strrchr(fno.fname, '.');
				if (ext
						&& (strcasecmp(ext, ".mp3") == 0
								|| strcasecmp(ext, ".MP3") == 0)) {
					snprintf(mp3_files[count].filename,
							sizeof(mp3_files[count].filename), "0:/%s",
							fno.fname);
					count++;
				}
			}
		}
		f_closedir(&dir);
	}
	return count;
}

// 현재 트랙 열기 함수
bool open_current_track(void) {
	char FATFS_str[50];

	// 현재 트랙 열기
	if ((retSD = f_open(&SDFile, mp3_files[current_track_index].filename,
	FA_READ)) == FR_OK) {
		osMutexAcquire(lcdMutexHandle, osWaitForever);

		// 파일명만 추출해서 표시 (경로 제외)
		char *filename_only = strrchr(mp3_files[current_track_index].filename,
				'/');
		if (filename_only) {
			filename_only++;  // '/' 다음 문자부터
		} else {
			filename_only = mp3_files[current_track_index].filename;
		}

		snprintf(FATFS_str, "%.20s", filename_only);
		CLCD_Puts(11, 0, (unsigned char*) FATFS_str);
		osMutexRelease(lcdMutexHandle);

		return true;
	} else {
		osMutexAcquire(lcdMutexHandle, osWaitForever);
		sprintf(FATFS_str, "open error %d", retSD);
		CLCD_Puts(11, 0, (unsigned char*) FATFS_str);
		osMutexRelease(lcdMutexHandle);

		return false;
	}
}

// 다음 트랙으로 이동 함수
bool switch_to_next_track(void) {
	f_close(&SDFile);
	current_track_index = (current_track_index + 1) % total_mp3_files;

	// 최대 전체 파일 수만큼 시도
	for (uint32_t attempts = 0; attempts < total_mp3_files; attempts++) {
		if (open_current_track()) {
			// MP3 버퍼 리셋
			osMutexAcquire(mp3BufferMutexHandle, osWaitForever);
			mp3_buf_len = 0;
			mp3_buf_index = 0;
			osMutexRelease(mp3BufferMutexHandle);

			return true;
		}

		// 실패하면 다음 트랙 시도
		current_track_index = (current_track_index + 1) % total_mp3_files;
		osDelay(100);
	}

	return false;  // 모든 파일 오픈 실패
}

/* USER CODE END Header_StartFATFS */
void StartFATFS(void *argument) {
	/* USER CODE BEGIN StartFATFS */

	//TASK LOCAL VARIABLES
	hsd.Init.BusWide = SDIO_BUS_WIDE_1B;
	char FATFS_str[50];
	bool file_opened = false;
	char fatfs_logBuf[128];

	// MOUNT SD CARD
	// f_mount 함수 : SD 카드에 FAT 파일 시스템을 마운트
	// &SDPath[0]: 드라이브 경로 문자열 포인터 ( 0: )
	// 1 : 강제로 마운트 시도
	if ((retSD = f_mount(&SDFatFS, &SDPath[0], 1)) == FR_OK) { // 마운트 성공
		// MP3 파일들 스캔 (mp3 파일 갯수 리턴)
		total_mp3_files = scan_mp3_files();
		if (total_mp3_files == 0) {
			osThreadId_t tid = osThreadGetId();  // 현재 태스크 ID 얻기
			osThreadTerminate(tid);               // 현재 태스크 종료
		}
	}

	else { // 마운트 실패
		osMutexAcquire(lcdMutexHandle, osWaitForever);
		sprintf(FATFS_str, "mount error %d", retSD);
		CLCD_Puts(0, 1, (unsigned char*) FATFS_str);
		osMutexRelease(lcdMutexHandle);
		osThreadId_t tid = osThreadGetId();  // 현재 태스크 ID 얻기
		osThreadTerminate(tid);               // 현재 태스크 종료
	}

	// 첫 번째 트랙 열기
	if (!open_current_track()) {
		if (!switch_to_next_track()) { // 있어야 하나??
			osMutexAcquire(lcdMutexHandle, osWaitForever);
			CLCD_Puts(0, 1, (unsigned char*) "No playable files");
			osMutexRelease(lcdMutexHandle);
			osThreadId_t tid = osThreadGetId();  // 현재 태스크 ID 얻기
			osThreadTerminate(tid);               // 현재 태스크 종료
		}
	}

	// RESET MP3 BUFFER
	osMutexAcquire(mp3BufferMutexHandle, osWaitForever);
	mp3_buf_len = 0;	//SD 카드에서 지금까지 읽어들인 MP3 데이터 총 길이
	mp3_buf_index = 0;	//VS1003에 보낸 데이터 위치
	osMutexRelease(mp3BufferMutexHandle);
	file_opened = true; // 필요한 변수??

	/* Infinite loop */
	for (;;) {

		// 트랙 변경 요청 확인
		uint32_t thread_flags = osThreadFlagsWait(2, osFlagsWaitAny, 0);

		if (thread_flags & 2) {  // 플래그 2: 트랙 변경 요청
			if (switch_to_next_track()) {
				file_opened = true;
				snprintf(fatfs_logBuf, sizeof(fatfs_logBuf),
						"[FATFS Task] NEXT track\r\n");
				osMessageQueuePut(uartQueueHandle, fatfs_logBuf, 0, 0);
				osThreadFlagsSet(VS1003TaskHandle, 1);  // VS1003 태스크 깨우기
			}
		}

		if (!file_opened) {
			osDelay(100);
			continue;
		}

		// MP3 버퍼 상태 확인을 뮤텍스로 보호
		osMutexAcquire(mp3BufferMutexHandle, osWaitForever);
		uint32_t current_buf_len = mp3_buf_len;
		uint32_t current_buf_index = mp3_buf_index;
		osMutexRelease(mp3BufferMutexHandle);

		if (current_buf_len - current_buf_index < 512) { // IF BUFFER LOW, READ MORE FROM FILE
			UINT br;
			osMutexAcquire(mp3BufferMutexHandle, osWaitForever);

			// SHIFT REMAINING DATA TO FRONT
			if (mp3_buf_index > 0 && mp3_buf_len > mp3_buf_index) {
				memmove(mp3_buf, &mp3_buf[mp3_buf_index],
						mp3_buf_len - mp3_buf_index);
				mp3_buf_len = mp3_buf_len - mp3_buf_index;
				mp3_buf_index = 0;
			} else if (mp3_buf_index >= mp3_buf_len) {
				mp3_buf_len = 0;
				mp3_buf_index = 0;
			}

			// READ FROM FILE
			retSD = f_read(&SDFile, &mp3_buf[mp3_buf_len],
			MP3_BUF_SIZE - mp3_buf_len, &br);
			if (retSD != FR_OK || br == 0) { // END OF FILE → 다음 곡으로
				osMutexRelease(mp3BufferMutexHandle);

				if (switch_to_next_track()) {
					file_opened = true;
					osThreadFlagsSet(VS1003TaskHandle, 1); // VS1003 태스크 깨우기
				} else {
					file_opened = false;
				}

				osDelay(500);  // 잠시 대기
				continue;
			}
			mp3_buf_len += br;
			osMutexRelease(mp3BufferMutexHandle);

			// NOTIFY VS1003 TASK TO PLAY DATA
			osThreadFlagsSet(VS1003TaskHandle, 1);
		}

		// CHECK EVERY 10MS
		osDelay(10);
	}
	/* USER CODE END StartFATFS */
}

/* USER CODE BEGIN Header_StartADC2DMA */
/**
 * @brief Function implementing the ADC2DMATask thread.
 * @param argument: Not used
 * @retval None
 *
 * @details
 * - ADC2 값을 이용해 가변 저항(볼륨)의 상태를 읽고, 이를 0~255 범위로 스케일링
 * - 값이 이전과 비교해 10단위 이상 변할 경우만 볼륨 변경 큐에 전송 (불필요한 업데이트 최소화)
 * - ADC 채널 값 LCD에 출력
 * - 주기: 100ms
 */
/* USER CODE END Header_StartADC2DMA */
void StartADC2DMA(void *argument) {
	/* USER CODE BEGIN StartADC2DMA */

	//7SEG INIT
	_7SEG_GPIO_Init();

	//TASK LOCAL VARIABLES
	char ADC_str[20];
	uint8_t last_scaled = 0;
	uint8_t scaled;
	uint8_t scaled_10;
	//

	/* Infinite loop */
	for (;;) {

		//CONVERT ADC TO VOLUME (SCALED)
		scaled = 255 - (adcval[0] * 255) / 4100;
		//일의 자리 없애기(음량 변동을 없애기 위해)
		scaled_10 = (scaled / 10) * 10;
		//

		//IF VALUE CHANGED, SEND TO QUEUE(CHANGING VOLUME AT VS1003Task)
		if (scaled_10 != last_scaled) {
			last_scaled = scaled_10;
			//scaled_10 변수 값을 volQueueHandle 메시지 큐에 넣음
			//우선순위는 기본값 0
			//만약 큐가 꽉 차 있으면 즉시 실패 (대기하지 않고)
			osMessageQueuePut(volQueueHandle, &scaled_10, 0, 0);
		}
		//

		_7SEG_SetNumber(DGT1, scaled_10 / 100, OFF);
		_7SEG_SetNumber(DGT2, (scaled_10 / 10) % 10, ON);

		//EVERY 100MS
		osDelay(100);
		//

	}
	/* USER CODE END StartADC2DMA */
}

void StartButton(void *argument) {
	/* USER CODE BEGIN StartButton */

	//TASK LOCAL VARIABLES
	static bool sw1_is_pressed = false;
	static bool sw2_is_pressed = false;

	/* Infinite loop */
	for (;;) {

		//WAIT FOR EVENT FLAGS -> BTN EVENTS EVERY PUSH & RELEASE
		uint32_t flags = osEventFlagsWait(eventFlagsHandle, EVENT_BTN_BIT,
		osFlagsWaitAny, osWaitForever);

		//BTN EVENT -> CHANGING PLAYING STATUS & TOGGLE LED
		if (flags & EVENT_BTN_BIT) {
			GPIO_PinState pin = HAL_GPIO_ReadPin(GPIOE, GPIO_PIN_3);
			if (pin == GPIO_PIN_SET && sw1_is_pressed == false) {	// PUSH BTN
				sw1_is_pressed = true;		// SW DEBOUNCING
				osMutexAcquire(playStateMutexHandle, osWaitForever); // 재생 상태 뮤텍스 획득
				is_playing = !is_playing;
				osMutexRelease(playStateMutexHandle);  // 재생 상태 뮤텍스 해제
				osThreadFlagsSet(VS1003TaskHandle, 1);  // WAKE UP VS1003Task
				osEventFlagsSet(eventFlagsHandle, EVENT_BTN2LCD_BIT);
				HAL_GPIO_TogglePin(GPIOD, GPIO_PIN_14);
			}

			else if (pin == GPIO_PIN_RESET && sw1_is_pressed == true) {	// RELEASE BTN
				sw1_is_pressed = false;		// SW DEBOUNCING
				HAL_GPIO_TogglePin(GPIOB, GPIO_PIN_0);
			}

			// CHECK BUTTON 2 (GPIOE PIN_15) - 다음 곡 재생
			GPIO_PinState pin2 = HAL_GPIO_ReadPin(GPIOD, GPIO_PIN_4);
			if (pin2 == GPIO_PIN_SET && !sw2_is_pressed) { // PUSH
				sw2_is_pressed = true;

				if (total_mp3_files > 1) {  // 다수의 MP3 파일이 있을 때만
					// FATFS 태스크에 트랙 변경 신호 전송
					osThreadFlagsSet(FATFSTaskHandle, 2);  // 플래그 2는 트랙 변경
				}
				HAL_GPIO_TogglePin(GPIOD, GPIO_PIN_14);
			}

			else if (pin2 == GPIO_PIN_RESET && sw2_is_pressed) { // RELEASE
				sw2_is_pressed = false;
				HAL_GPIO_TogglePin(GPIOB, GPIO_PIN_0);
			}
		}
	}
	/* USER CODE END StartButton */
}
